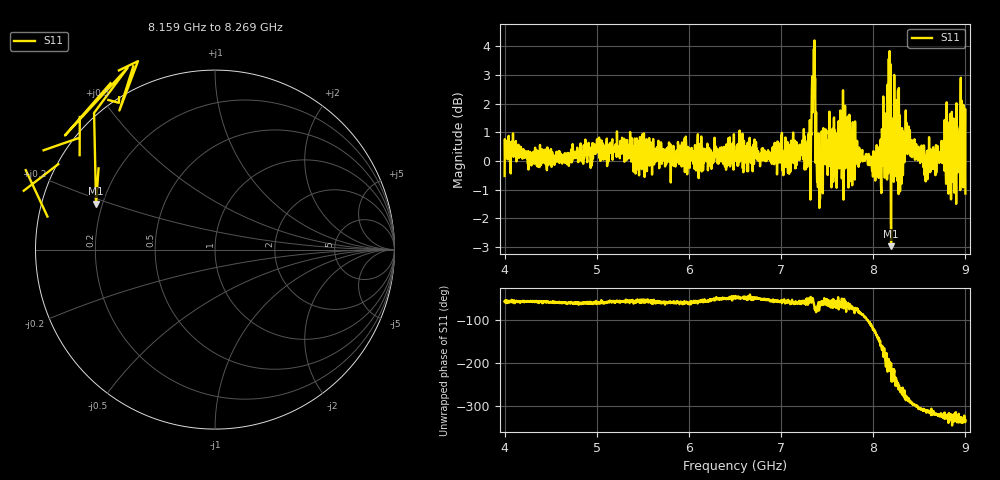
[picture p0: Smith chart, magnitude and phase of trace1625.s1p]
! Created with skrf 1.8.0 (http://scikit-rf.org).
# Hz S RI R 50.0
!freq ReS11 ImS11
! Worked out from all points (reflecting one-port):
!   1601 points, 4 GHz to 9 GHz, reference 50 ohm
!   lowest |S11| = -3.0 dB at 8.194 GHz (marker M1), VSWR 5.90, Z = 8.76 + j9.02 ohm
!   phase of S11 starts at -57 deg and turns -277 deg over the sweep
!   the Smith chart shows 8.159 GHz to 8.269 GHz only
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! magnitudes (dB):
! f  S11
! 4 GHz  -0.5
! 4.028 GHz  0.7
! 4.625 GHz  -0.1
! 5.25 GHz  0.1
! 5.875 GHz  0.2
! 6.5 GHz  0.1
! 7.125 GHz  0.4
! 7.297 GHz  0.7
! 7.356 GHz  3.9
! 7.397 GHz  -0.3
! 7.412 GHz  0.0
! 7.509 GHz  0.7
! 7.609 GHz  1.0
! 7.65 GHz  1.6
! 7.75 GHz  -0.2
! 8 GHz  0.1
! 8.066 GHz  0.5
! 8.162 GHz  -0.4
! 8.194 GHz  -3.0
! 8.216 GHz  1.5
! 8.253 GHz  1.1
! 8.316 GHz  0.6
! 8.375 GHz  0.7
! 8.562 GHz  -0.4
! 8.775 GHz  1.4
! 8.869 GHz  -0.2
! 8.972 GHz  0.6
! 9 GHz  -1.1
